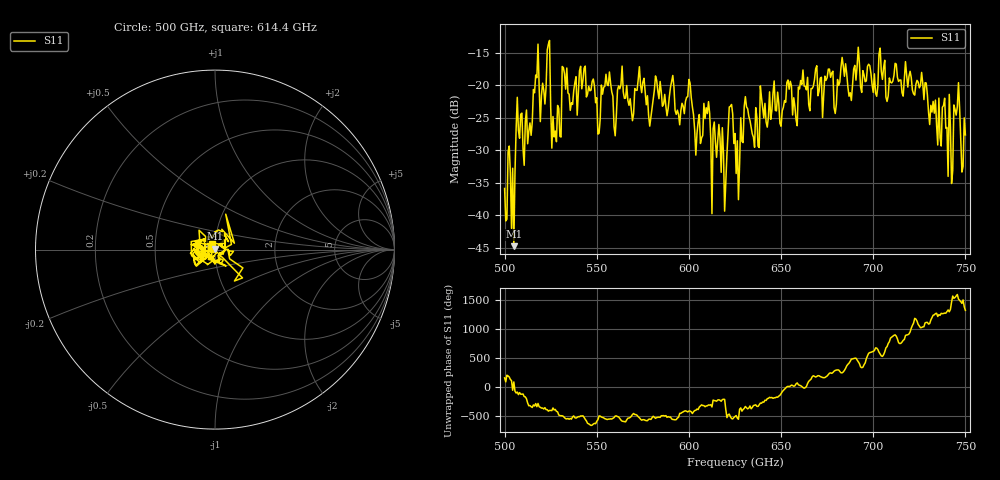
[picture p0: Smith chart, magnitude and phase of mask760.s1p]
!Created with skrf (http://scikit-rf.org).
# GHz S MA R 50.0
!freq magS11 angS11
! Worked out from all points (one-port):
!   401 points, 500 GHz to 750 GHz, reference 50 ohm
!   lowest |S11| = -44.8 dB at 505 GHz (marker M1), VSWR 1.01, Z = 50.1 + j0.576 ohm
!   |S11| at or under -10 dB: start of sweep to end of sweep
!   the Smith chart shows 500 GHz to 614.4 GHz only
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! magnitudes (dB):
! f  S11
! 500 GHz  -35.9
! 505 GHz  -44.8
! 507.5 GHz  -27.0
! 513.8 GHz  -25.8
! 516.9 GHz  -18.5
! 520.6 GHz  -19.7
! 523.8 GHz  -13.7
! 526.9 GHz  -28.0
! 531.2 GHz  -17.1
! 542.5 GHz  -19.3
! 550.6 GHz  -27.5
! 562.5 GHz  -20.6
! 579.4 GHz  -24.9
! 590.6 GHz  -19.4
! 593.8 GHz  -23.9
! 609.4 GHz  -23.5
! 618.8 GHz  -30.6
! 622.5 GHz  -23.3
! 625 GHz  -27.5
! 656.2 GHz  -24.6
! 680 GHz  -22.9
! 683.8 GHz  -17.1
! 687.5 GHz  -21.2
! 718.8 GHz  -20.3
! 738.8 GHz  -22.0
! 741.9 GHz  -26.4
! 745 GHz  -24.6
! 750 GHz  -27.7
